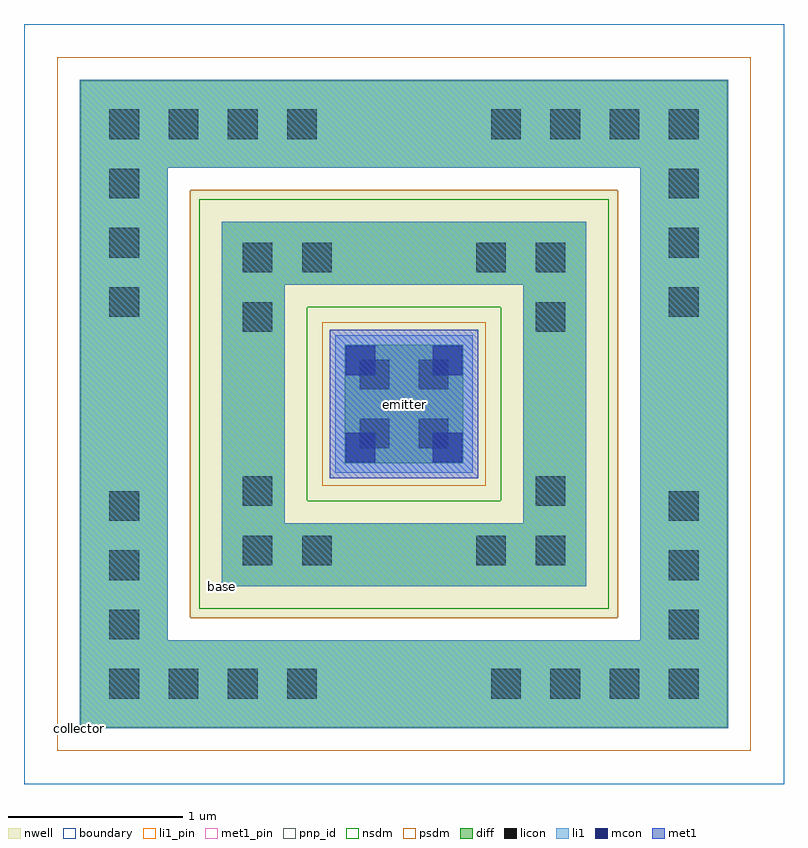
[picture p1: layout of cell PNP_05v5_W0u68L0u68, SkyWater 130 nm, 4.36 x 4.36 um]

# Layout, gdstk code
import gdstk
lib = gdstk.Library(unit=1e-6, precision=1e-09)
def R(c, l, rs):  # rectangles x0, y0, x1, y1
    for r in rs: c.add(gdstk.rectangle(r[:2], r[2:], *l))
def A(c, l, x, y, w, h, nx, ny, dx, dy):  # array of equal rectangles
    R(c, l, [(x+i*dx, y+j*dy, x+i*dx+w, y+j*dy+h) for i in range(nx) for j in range(ny)])
def P(c, l, *ps):  # polygons
    for p in ps: c.add(gdstk.Polygon(p, *l))
nwell = (64, 20)
diff = (65, 20)
licon = (66, 44)
li1_pin = (67, 16)
li1 = (67, 20)
mcon = (67, 44)
met1_pin = (68, 16)
met1 = (68, 20)
pnp_id = (82, 44)
nsdm = (93, 44)
psdm = (94, 20)
boundary = (235, 4)

pnp_05v5_w0u68l0u68 = lib.new_cell('PNP_05v5_W0u68L0u68')
R(pnp_05v5_w0u68l0u68, nwell, [(-1.225,-1.225,1.225,1.225)])
R(pnp_05v5_w0u68l0u68, diff, [(-0.34,-0.34,0.34,0.34)])
P(pnp_05v5_w0u68l0u68, diff, [(-1.045,-1.045),(-1.045,0.685),(-0.685,0.685),(-0.685,-0.685),(0.685,-0.685),(0.685,0.685),(-1.045,0.685),(-1.045,1.045),(1.045,1.045),(1.045,-1.045)],
  [(-1.86,-1.86),(-1.86,1.355),(-1.355,1.355),(-1.355,-1.355),(1.355,-1.355),(1.355,1.355),(-1.86,1.355),(-1.86,1.86),(1.86,1.86),(1.86,-1.86)])
A(pnp_05v5_w0u68l0u68, licon, -1.69, -1.69, 0.17, 0.17, 4, 2, 0.34, 3.21)
A(pnp_05v5_w0u68l0u68, licon, 0.5, -1.69, 0.17, 0.17, 4, 2, 0.34, 3.21)
A(pnp_05v5_w0u68l0u68, licon, -1.69, -1.35, 0.17, 0.17, 1, 3, 0, 0.34)
A(pnp_05v5_w0u68l0u68, licon, 1.52, -1.35, 0.17, 0.17, 1, 3, 0, 0.34)
A(pnp_05v5_w0u68l0u68, licon, -1.69, 0.5, 0.17, 0.17, 1, 3, 0, 0.34)
A(pnp_05v5_w0u68l0u68, licon, 1.52, 0.5, 0.17, 0.17, 1, 3, 0, 0.34)
R(pnp_05v5_w0u68l0u68, licon, [(-0.925,-0.925,-0.755,-0.755), (-0.585,-0.925,-0.415,-0.755), (0.415,-0.925,0.585,-0.755), (0.755,-0.925,0.925,-0.755), (-0.925,-0.585,-0.755,-0.415), (0.755,-0.585,0.925,-0.415), (-0.255,-0.255,-0.085,-0.085), (0.085,-0.255,0.255,-0.085), (-0.255,0.085,-0.085,0.255), (0.085,0.085,0.255,0.255), (-0.925,0.415,-0.755,0.585), (0.755,0.415,0.925,0.585), (-0.925,0.755,-0.755,0.925), (-0.585,0.755,-0.415,0.925), (0.415,0.755,0.585,0.925), (0.755,0.755,0.925,0.925)])
P(pnp_05v5_w0u68l0u68, li1_pin, [(-1.045,-1.045),(-1.045,1.045),(1.045,1.045),(1.045,-1.045),(-0.685,-1.045),(-0.685,-0.685),(0.685,-0.685),(0.685,0.685),(-0.685,0.685),(-0.685,-1.045)],
  [(-1.86,-1.86),(-1.86,1.86),(1.86,1.86),(1.86,-1.86),(-1.355,-1.86),(-1.355,-1.355),(1.355,-1.355),(1.355,1.355),(-1.355,1.355),(-1.355,-1.86)])
R(pnp_05v5_w0u68l0u68, li1, [(-0.395,-0.395,0.395,0.395)])
P(pnp_05v5_w0u68l0u68, li1, [(-1.045,-1.045),(-1.045,0.685),(-0.685,0.685),(-0.685,-0.685),(0.685,-0.685),(0.685,0.685),(-1.045,0.685),(-1.045,1.045),(1.045,1.045),(1.045,-1.045)],
  [(-1.86,-1.86),(-1.86,1.355),(-1.355,1.355),(-1.355,-1.355),(1.355,-1.355),(1.355,1.355),(-1.86,1.355),(-1.86,1.86),(1.86,1.86),(1.86,-1.86)])
R(pnp_05v5_w0u68l0u68, mcon, [(-0.335,-0.335,-0.165,-0.165), (0.165,-0.335,0.335,-0.165), (-0.335,0.165,-0.165,0.335), (0.165,0.165,0.335,0.335)])
R(pnp_05v5_w0u68l0u68, met1_pin, [(-0.425,-0.425,0.425,0.425)])
R(pnp_05v5_w0u68l0u68, met1, [(-0.425,-0.425,0.425,0.425)])
R(pnp_05v5_w0u68l0u68, pnp_id, [(-1.855,-1.855,1.855,1.855)])
P(pnp_05v5_w0u68l0u68, nsdm, [(-1.175,-1.175),(-1.175,0.555),(-0.555,0.555),(-0.555,-0.555),(0.555,-0.555),(0.555,0.555),(-1.175,0.555),(-1.175,1.175),(1.175,1.175),(1.175,-1.175)])
R(pnp_05v5_w0u68l0u68, psdm, [(-0.47,-0.47,0.47,0.47)])
P(pnp_05v5_w0u68l0u68, psdm, [(-1.99,-1.99),(-1.99,1.225),(-1.225,1.225),(-1.225,-1.225),(1.225,-1.225),(1.225,1.225),(-1.99,1.225),(-1.99,1.99),(1.99,1.99),(1.99,-1.99)])
R(pnp_05v5_w0u68l0u68, boundary, [(-2.18,-2.18,2.18,2.18)])
pnp_05v5_w0u68l0u68.add(gdstk.Label('emitter', (0,0), layer=68, texttype=16))
pnp_05v5_w0u68l0u68.add(gdstk.Label('base', (-1.045,-1.045), layer=67, texttype=16))
pnp_05v5_w0u68l0u68.add(gdstk.Label('collector', (-1.86,-1.86), layer=67, texttype=16))

lib.write_gds('PNP_05v5_W0u68L0u68.gds')
